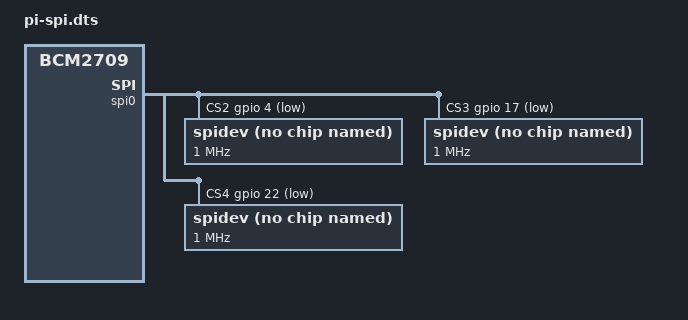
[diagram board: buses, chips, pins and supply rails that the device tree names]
/dts-v1/;
/plugin/;

/ {
	compatible = "brcm,bcm2835", "brcm,bcm2836", "brcm,bcm2708", "brcm,bcm2709";

	// base pi-spi pins
	fragment@0 {
		target = <&spi0>;
		frag0: __overlay__ {
			#address-cells = <1>;
			#size-cells = <0>;
			status = "okay";
			cs-gpios = 
				<&gpio 8 1>,		/* 8KO */ 
				<&gpio 7 1>,		/* 8AI */
				<&gpio 4 1>,		/* 2AO */
   			<&gpio 17 1>,		/* 8DI */
				<&gpio 22 1>;		/* SPARE */

			spidev@2{
				compatible = "spidev";
				reg = <2>;	/* CE2 */
				#address-cells = <1>;
				#size-cells = <0>;
				spi-max-frequency = <1000000>;
			};

			spidev@3{
				compatible = "spidev";
				reg = <3>;	/* CE3 */
				#address-cells = <1>;
				#size-cells = <0>;
				spi-max-frequency = <1000000>;
			};

			spidev@4{
				compatible = "spidev";
				reg = <4>;	/* CE4 */
				#address-cells = <1>;
				#size-cells = <0>;
				spi-max-frequency = <1000000>;
			};

		};
	};

	fragment@1 {
		target = <&spi0_cs_pins>;
		frag1: __overlay__ {
			brcm,pins = <8 7 4 17 22>;
		};
	};

	// extended pi-spi pins
	fragment@2 {
		target = <&spi0>;
		frag2: __dormant__ {
			#address-cells = <1>;
			#size-cells = <0>;
			cs-gpios = 
				<&gpio 8 1>,		/* 8KO */ 
				<&gpio 7 1>,		/* 8AI */
				<&gpio 4 1>,		/* 2AO */
   			<&gpio 17 1>,		/* 8DI */
				<&gpio 22 1>,		/* SPARE 1 */
				<&gpio 27 1>,		/* SPARE 2 */
				<&gpio 18 1>;		/* SPARE 3 */

			spidev@5{
				compatible = "spidev";
				reg = <5>;	/* CE5 */
				#address-cells = <1>;
				#size-cells = <0>;
				spi-max-frequency = <1000000>;
			};

			spidev@6{
				compatible = "spidev";
				reg = <6>;	/* CE6 */
				#address-cells = <1>;
				#size-cells = <0>;
				spi-max-frequency = <1000000>;
			};
		};
	};

	fragment@3 {
		target = <&spi0_cs_pins>;
		frag3: __dormant__ {
			brcm,pins = <8 7 4 17 22 27 18>;
		};
	};

	__overrides__ {
		ss2_pin = 
			<&frag0>, "cs-gpios:28",
			<&frag1>, "brcm,pins:8",
			<&frag2>, "cs-gpios:28",
			<&frag3>, "brcm,pins:8";
		ss3_pin = 
			<&frag0>, "cs-gpios:40",
			<&frag1>, "brcm,pins:12",
			<&frag2>, "cs-gpios:40",
			<&frag3>, "brcm,pins:12";
		ss4_pin = 
			<&frag0>, "cs-gpios:52",
			<&frag1>, "brcm,pins:16",
			<&frag2>, "cs-gpios:52",
			<&frag3>, "brcm,pins:16";
		extra_cs = <0>, "+2+3";
		ss5_pin = 
			<&frag2>, "cs-gpios:64",
			<&frag3>, "brcm,pins:20";
		ss6_pin = 
			<&frag2>, "cs-gpios:76",
			<&frag3>, "brcm,pins:24";
	};
};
